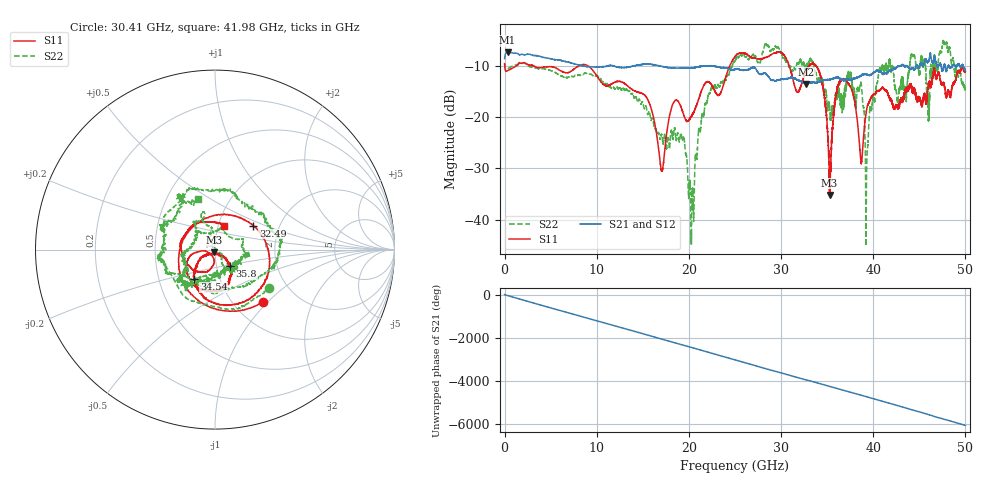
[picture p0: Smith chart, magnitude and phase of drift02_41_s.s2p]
!Created with skrf (http://scikit-rf.org).
# Hz S RI R 50.0
!freq ReS11 ImS11 ReS21 ImS21 ReS12 ImS12 ReS22 ImS22
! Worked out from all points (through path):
!   10001 points, 300 kHz to 50 GHz, reference 50 ohm
!   highest |S21| = -7.31 dB at 325.3 MHz (marker M1); lowest = -13.5 dB at 32.75 GHz (marker M2)
!   group delay of S21, straight-line fit = 335 ps
!   lowest |S11| = -35.2 dB at 35.26 GHz (marker M3), VSWR 1.04, Z = 49.2 - j1.55 ohm
!   |S11| at or under -10 dB: 3.24 GHz to 8.005 GHz (4.765 GHz wide, 84.7 % of centre); 9.101 GHz to 24.41 GHz (15.31 GHz wide, 91.4 % of centre); 33.83 GHz to end of sweep (the widest 3 of 8)
!   |S22| runs from -45.2 to -5.0 dB; largest |S21 - S12| = 0.014
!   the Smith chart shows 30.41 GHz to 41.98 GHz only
!   S11 on the Smith chart (normalised r, x): 30.41 GHz: 1.36, -0.94; 32.49 GHz: 1.47, +0.42; 34.54 GHz: 0.76, -0.26; 35.8 GHz: 1.16, -0.22; 41.98 GHz: 1.06, +0.29
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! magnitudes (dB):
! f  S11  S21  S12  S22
! 300 kHz  -9.5  -8.5  -8.5  -9.5
! 325.3 MHz  -10.9  -7.3  -7.3  -10.6
! 8.335 GHz  -9.7  -9.9  -9.9  -11.6
! 16.67 GHz  -25.6  -9.9  -9.9  -23.0
! 19.3 GHz  -18.8  -10.4  -10.3  -24.4
! 20.36 GHz  -19.5  -10.4  -10.3  -35.5
! 21.94 GHz  -13.1  -9.9  -10.0  -17.1
! 25 GHz  -8.2  -10.6  -10.6  -9.0
! 30.41 GHz  -8.1  -12.5  -12.5  -8.7
! 32.49 GHz  -12.0  -13.3  -13.4  -9.4
! 32.75 GHz  -10.8  -13.5  -13.5  -9.8
! 33.34 GHz  -9.5  -13.1  -13.2  -9.0
! 34.54 GHz  -14.0  -12.8  -12.7  -12.6
! 35.26 GHz  -35.2  -12.6  -12.6  -18.2
! 35.8 GHz  -18.1  -12.3  -12.4  -17.1
! 37.31 GHz  -13.5  -12.6  -12.5  -11.5
! 38.55 GHz  -26.3  -12.0  -12.0  -14.0
! 39.31 GHz  -18.3  -11.6  -11.6  -28.2
! 41.67 GHz  -15.9  -10.9  -11.1  -9.8
! 41.98 GHz  -17.0  -10.8  -10.8  -10.4
! 47.77 GHz  -14.5  -9.8  -9.8  -5.5
! 50 GHz  -11.1  -10.8  -10.8  -14.2
